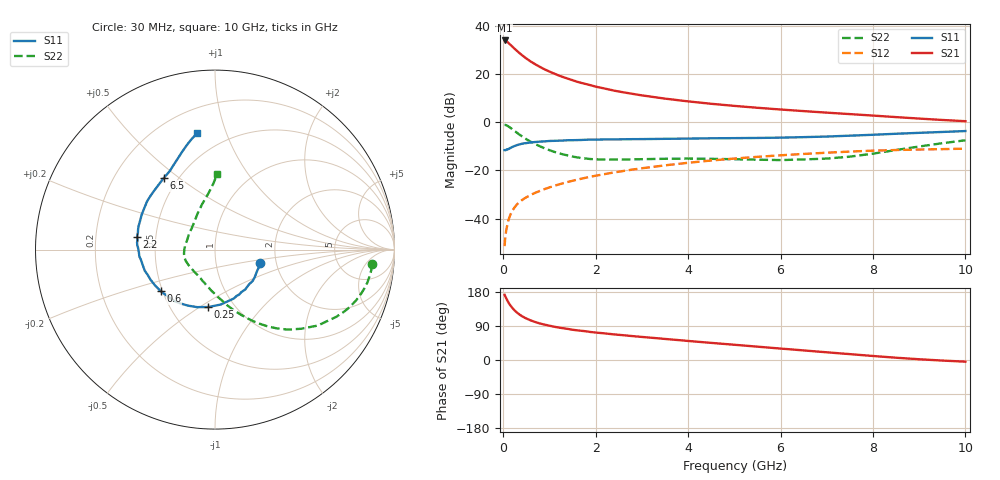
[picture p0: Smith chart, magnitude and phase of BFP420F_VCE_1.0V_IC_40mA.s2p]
! Infineon Technologies  Discrete & RF Semiconductors
! BFP420F
! VCE =  1.0 V,  IC =  40 mA
! Common Emitter S-Parameters:  Sep 2011
# GHz  S  MA  R  50
!  f  S11  S21  S12  S22
! GHz  MAG  ANG  MAG  ANG  MAG  ANG  MAG  ANG
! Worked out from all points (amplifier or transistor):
!   54 points, 30 MHz to 10 GHz, reference 50 ohm
!   highest |S21| = 33.9 dB at 30 MHz (marker M1)
!   |S21| within 3 dB of that: start of sweep to 222 MHz
!   unconditionally stable (mu >= 1): 1.171 GHz to end of sweep
!   at 120 MHz: K = 0.44, MSG = 36.5 dB, |S12| = -40.2 dB
!   at 1.3 GHz: K = 1.03, MAG = 20.9 dB, |S12| = -25.3 dB
!   at 10 GHz: K = 1.21, MAG = 2.9 dB, |S12| = -11.0 dB
!   S11 on the Smith chart (normalised r, x): 30 MHz: 1.65, -0.27; 250 MHz: 0.76, -0.54; 600 MHz: 0.49, -0.26; 2.2 GHz: 0.39, +0.07; 6.5 GHz: 0.42, +0.44; 10 GHz: 0.35, +0.80
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0.03  0.2642 -16.6  49.4 171.9  0.0027 88.1  0.8785 -5.3
0.07  0.2706 -36.1  47.38 161.6  0.0061 83.0  0.8604 -14.4
0.1  0.2747 -49.8  45.15 154.5  0.0082 79.9  0.832 -20.4
0.12  0.2787 -58.5  43.36 150.2  0.0098 76.5  0.8089 -24.1
0.15  0.2919 -68.8  40.67 144.8  0.0118 74.7  0.7717 -29.1
0.2  0.3078 -84.1  36.65 137.0  0.0148 71.4  0.7116 -36.5
0.25  0.3222 -96.7  32.94 130.4  0.0174 69.0  0.6527 -42.5
0.3  0.3359 -107.4  29.94 124.8  0.02 67.0  0.6018 -47.8
0.4  0.3565 -122.7  24.74 116.1  0.0241 64.9  0.5139 -56.0
0.5  0.3693 -133.9  20.92 109.5  0.0278 63.9  0.4451 -62.6
0.6  0.3812 -142.6  17.95 104.3  0.0313 63.5  0.3907 -68.3
0.8  0.3966 -155.1  13.89 96.1  0.038 63.3  0.3151 -78.0
1  0.4085 -163.2  11.2 90.5  0.0446 63.5  0.2635 -86.8
1.3  0.4172 -172.5  8.586 83.7  0.0546 63.3  0.2148 -99.4
1.7  0.4286 178.8  6.489 77.0  0.0678 62.7  0.1797 -116.2
2.2  0.4401 170.6  4.972 70.2  0.0843 61.2  0.1684 -134.0
3.5  0.4524 154.6  3.081 55.6  0.1277 54.8  0.1745 -158.9
5.5  0.4719 135.9  1.99 35.2  0.1916 41.4  0.1671 170.6
6.5  0.4905 125.6  1.698 25.3  0.22 34.2  0.1691 148.9
7  0.5044 120.1  1.578 20.3  0.2333 30.4  0.1763 137.3
8.5  0.5762 108.4  1.275 6.0  0.2651 18.6  0.2652 105.4
10  0.6559 98.7  1.049 -4.4  0.2827 9.5  0.4221 88.4
